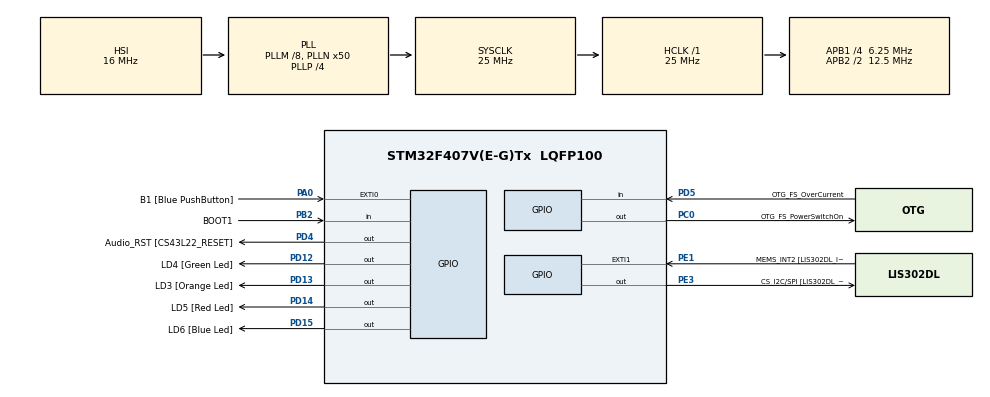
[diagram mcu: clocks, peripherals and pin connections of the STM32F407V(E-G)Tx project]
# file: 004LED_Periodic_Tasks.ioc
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Mcu.Family=STM32F4
Mcu.Name=STM32F407V(E-G)Tx
Mcu.Package=LQFP100
NVIC.PriorityGroup=NVIC_PRIORITYGROUP_0
NVIC.TIM6_DAC_IRQn=true\:0\:0\:false\:false\:true\:false\:true\:true
NVIC.TimeBase=TIM6_DAC_IRQn
NVIC.TimeBaseIP=TIM6
PA0-WKUP.GPIO_Label=B1 [Blue PushButton]
PA0-WKUP.Signal=GPXTI0
PA10.GPIO_Label=OTG_FS_ID
PA10.GPIO_Mode=GPIO_MODE_AF_PP
PA10.GPIO_PuPd=GPIO_NOPULL
PA10.GPIO_Speed=GPIO_SPEED_FREQ_LOW
PA10.Signal=USB_OTG_FS_ID
PA11.GPIO_Label=OTG_FS_DM
PA11.GPIO_Mode=GPIO_MODE_AF_PP
PA11.GPIO_PuPd=GPIO_NOPULL
PA11.GPIO_Speed=GPIO_SPEED_FREQ_LOW
PA11.Signal=USB_OTG_FS_DM
PA12.GPIO_Label=OTG_FS_DP
PA12.GPIO_Mode=GPIO_MODE_AF_PP
PA12.GPIO_PuPd=GPIO_NOPULL
PA12.GPIO_Speed=GPIO_SPEED_FREQ_LOW
PA12.Signal=USB_OTG_FS_DP
PA13.GPIO_Label=SWDIO
PA13.Signal=SYS_JTMS-SWDIO
PA14.GPIO_Label=SWCLK
PA14.Signal=SYS_JTCK-SWCLK
PA4.GPIO_Label=I2S3_WS [CS43L22_LRCK]
PA4.GPIO_Mode=GPIO_MODE_AF_PP
PA4.GPIO_PuPd=GPIO_NOPULL
PA4.GPIO_Speed=GPIO_SPEED_FREQ_LOW
PA4.Signal=I2S3_WS
PA5.GPIO_Label=SPI1_SCK [LIS302DL_SCL/SPC]
PA5.GPIO_Mode=GPIO_MODE_AF_PP
PA5.GPIO_PuPd=GPIO_NOPULL
PA5.GPIO_Speed=GPIO_SPEED_FREQ_LOW
PA5.Signal=SPI1_SCK
PA6.GPIO_Label=SPI1_MISO [LIS302DL_SDO]
PA6.GPIO_Mode=GPIO_MODE_AF_PP
PA6.GPIO_PuPd=GPIO_NOPULL
PA6.GPIO_Speed=GPIO_SPEED_FREQ_LOW
PA6.Signal=SPI1_MISO
PA7.GPIO_Label=SPI1_MOSI [LIS302DL_SDA/SDI/SDO]
PA7.GPIO_Mode=GPIO_MODE_AF_PP
PA7.GPIO_PuPd=GPIO_NOPULL
PA7.GPIO_Speed=GPIO_SPEED_FREQ_LOW
PA7.Signal=SPI1_MOSI
PA9.GPIO_Label=VBUS_FS
PA9.GPIO_Mode=GPIO_MODE_INPUT
PA9.GPIO_PuPd=GPIO_NOPULL
PA9.Signal=USB_OTG_FS_VBUS
PB10.GPIO_Label=CLK_IN [MP45DT02_CLK]
PB10.GPIO_Mode=GPIO_MODE_AF_PP
PB10.GPIO_PuPd=GPIO_NOPULL
PB10.GPIO_Speed=GPIO_SPEED_FREQ_LOW
PB10.Signal=I2S2_CK
PB2.GPIO_Label=BOOT1
PB2.GPIO_Mode=GPIO_MODE_INPUT
PB2.GPIO_PuPd=GPIO_NOPULL
PB2.Signal=GPIO_Input
PB3.GPIO_Label=SWO
PB3.Signal=SYS_JTDO-SWO
PB6.GPIO_Label=Audio_SCL [CS43L22_SCL]
PB6.GPIO_Mode=GPIO_MODE_AF_OD
PB6.GPIO_PuPd=GPIO_NOPULL
PB6.GPIO_Speed=GPIO_SPEED_FREQ_LOW
PB6.Signal=I2C1_SCL
PB9.GPIO_Label=Audio_SDA [CS43L22_SDA]
PB9.GPIO_Mode=GPIO_MODE_AF_OD
PB9.GPIO_PuPd=GPIO_NOPULL
PB9.GPIO_Speed=GPIO_SPEED_FREQ_LOW
PB9.Signal=I2C1_SDA
PC0.GPIO_Label=OTG_FS_PowerSwitchOn
PC0.GPIO_PuPd=GPIO_NOPULL
PC0.GPIO_Speed=GPIO_SPEED_FREQ_LOW
PC0.PinState=GPIO_PIN_SET
PC0.Signal=GPIO_Output
PC10.GPIO_Label=I2S3_SCK [CS43L22_SCLK]
PC10.GPIO_Mode=GPIO_MODE_AF_PP
PC10.GPIO_PuPd=GPIO_NOPULL
PC10.GPIO_Speed=GPIO_SPEED_FREQ_LOW
PC10.Signal=I2S3_CK
PC12.GPIO_Label=I2S3_SD [CS43L22_SDIN]
PC12.GPIO_Mode=GPIO_MODE_AF_PP
PC12.GPIO_PuPd=GPIO_NOPULL
PC12.GPIO_Speed=GPIO_SPEED_FREQ_LOW
PC12.Signal=I2S3_SD
PC14-OSC32_IN.GPIO_Label=PC14-OSC32_IN
PC14-OSC32_IN.Signal=RCC_OSC32_IN
PC15-OSC32_OUT.GPIO_Label=PC15-OSC32_OUT
PC15-OSC32_OUT.Signal=RCC_OSC32_OUT
PC3.GPIO_Label=PDM_OUT [MP45DT02_DOUT]
PC3.GPIO_Mode=GPIO_MODE_AF_PP
PC3.GPIO_PuPd=GPIO_NOPULL
PC3.GPIO_Speed=GPIO_SPEED_FREQ_LOW
PC3.Signal=I2S2_SD
PC7.GPIO_Label=I2S3_MCK [CS43L22_MCLK]
PC7.GPIO_Mode=GPIO_MODE_AF_PP
PC7.GPIO_PuPd=GPIO_NOPULL
PC7.GPIO_Speed=GPIO_SPEED_FREQ_LOW
PC7.Signal=I2S3_MCK
PD12.GPIO_Label=LD4 [Green Led]
PD12.GPIO_PuPd=GPIO_NOPULL
PD12.GPIO_Speed=GPIO_SPEED_FREQ_LOW
PD12.Signal=GPIO_Output
PD13.GPIO_Label=LD3 [Orange Led]
PD13.GPIO_PuPd=GPIO_NOPULL
PD13.GPIO_Speed=GPIO_SPEED_FREQ_LOW
PD13.Signal=GPIO_Output
PD14.GPIO_Label=LD5 [Red Led]
PD14.GPIO_PuPd=GPIO_NOPULL
PD14.GPIO_Speed=GPIO_SPEED_FREQ_LOW
PD14.Signal=GPIO_Output
PD15.GPIO_Label=LD6 [Blue Led]
PD15.GPIO_PuPd=GPIO_NOPULL
PD15.GPIO_Speed=GPIO_SPEED_FREQ_LOW
PD15.Signal=GPIO_Output
PD4.GPIO_Label=Audio_RST [CS43L22_RESET]
PD4.GPIO_PuPd=GPIO_NOPULL
PD4.GPIO_Speed=GPIO_SPEED_FREQ_LOW
PD4.Signal=GPIO_Output
PD5.GPIO_Label=OTG_FS_OverCurrent
PD5.GPIO_Mode=GPIO_MODE_INPUT
PD5.GPIO_PuPd=GPIO_NOPULL
PD5.Signal=GPIO_Input
PE1.GPIO_Label=MEMS_INT2 [LIS302DL_INT2]
PE1.GPIO_ModeDefaultEXTI=GPIO_MODE_EVT_RISING
PE1.GPIO_PuPd=GPIO_NOPULL
PE1.Signal=GPXTI1
PE3.GPIO_Label=CS_I2C/SPI [LIS302DL_CS_I2C/SPI]
PE3.GPIO_PuPd=GPIO_NOPULL
PE3.GPIO_Speed=GPIO_SPEED_FREQ_LOW
PE3.Signal=GPIO_Output
PH0-OSC_IN.GPIO_Label=PH0-OSC_IN
PH0-OSC_IN.Signal=RCC_OSC_IN
PH1-OSC_OUT.GPIO_Label=PH1-OSC_OUT
PH1-OSC_OUT.Signal=RCC_OSC_OUT
ProjectManager.HeapSize=0x200
ProjectManager.StackSize=0x400
ProjectManager.TargetToolchain=STM32CubeIDE
RCC.48MHZClocksFreq_Value=14285714.285714285
RCC.AHBFreq_Value=25000000
RCC.APB1CLKDivider=RCC_HCLK_DIV4
RCC.APB1Freq_Value=6250000
RCC.APB1TimFreq_Value=12500000
RCC.APB2CLKDivider=RCC_HCLK_DIV2
RCC.APB2Freq_Value=12500000
RCC.APB2TimFreq_Value=25000000
RCC.CortexFreq_Value=25000000
RCC.HCLKFreq_Value=25000000
RCC.HSE_VALUE=8000000
RCC.HSI_VALUE=16000000
RCC.LSE_VALUE=32768
RCC.PLLM=8
RCC.PLLN=50
RCC.PLLP=RCC_PLLP_DIV4
RCC.PLLQ=7
RCC.SYSCLKFreq_VALUE=25000000
RCC.SYSCLKSource=RCC_SYSCLKSOURCE_PLLCLK
RCC.VCOOutputFreq_Value=100000000
VP_SYS_VS_tim6.Mode=TIM6
board=STM32F407G-DISC1

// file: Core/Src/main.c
/* USER CODE BEGIN Header */
/**
  ******************************************************************************
  * @file           : main.c
  * @brief          : Main program body
  ******************************************************************************
  * @attention
  *
  * Copyright (c) 2025 STMicroelectronics.
  * All rights reserved.
  *
  * This software is licensed under terms that can be found in the LICENSE file
  * in the root directory of this software component.
  * If no LICENSE file comes with this software, it is provided AS-IS.
  *
  ******************************************************************************
  */
/* USER CODE END Header */
#include "main.h"

/* USER CODE BEGIN Includes */
#include <stdio.h>
#include <stdint.h>
#include "FreeRTOS.h"
#include "task.h"

/* USER CODE END Includes */

/* USER CODE BEGIN PD */
#define DWT_CTRL (*(volatile uint32_t*)0xE0001000)

/* USER CODE END PD */

void SystemClock_Config(void);
static void MX_GPIO_Init(void);
/* USER CODE BEGIN PFP */

static void green_led_handler(void* parameters);
static void red_led_handler(void* parameters);
static void orange_led_handler(void* parameters);

/* USER CODE END PFP */

int main(void)
{

  /* USER CODE BEGIN 1 */
	TaskHandle_t green_led_task_handle;
	TaskHandle_t red_led_task_handle;
	TaskHandle_t orange_led_task_handle;

	BaseType_t status;

  /* USER CODE END 1 */

  /* MCU Configuration--------------------------------------------------------*/

  /* Reset of all peripherals, Initializes the Flash interface and the Systick. */
  HAL_Init();

  /* Configure the system clock */
  SystemClock_Config();

  /* Initialize all configured peripherals */
  MX_GPIO_Init();
  /* USER CODE BEGIN 2 */

  // Enable the CYCCNT (cycle counter)
  DWT_CTRL |= (1 << 0);

  // Start SEGGER recording of FreeRTOS app
  SEGGER_SYSVIEW_Conf();
  SEGGER_SYSVIEW_Start();

  // Tasks

  status = xTaskCreate(green_led_handler, "Green_Led_Task", 200, NULL, 2, &green_led_task_handle);

  configASSERT(status == pdPASS);

  status = xTaskCreate(red_led_handler, "Red_Led_Task", 200, NULL, 2, &red_led_task_handle);

  configASSERT(status == pdPASS);

  status = xTaskCreate(orange_led_handler, "Orange_Led_Task", 200, NULL, 2, &orange_led_task_handle);

  configASSERT(status == pdPASS);

  // Prevent Hard Fault (Usage fault/ Mem)
  // From: https://www.freertos.org/Documentation/02-Kernel/03-Supported-devices/04-Demos/ARM-Cortex/RTOS-Cortex-M3-M4
  // If you are using an STM32 with the STM32 driver library then ensure all the priority bits are assigned
  // to be preempt priority bits by calling NVIC_PriorityGroupConfig( NVIC_PriorityGroup_4 ); before the RTOS is started.

  // Recommended to set all priority bits to preempt bits (no sub-priority bits) to prevent complications
  // w/ the configMAX_SYSCALL_INTERRUPT_PRIORITY setting and the priority assigned to individual peripheral interrupts.
  HAL_NVIC_SetPriorityGrouping( NVIC_PRIORITYGROUP_4 );

  //start FreeRTOS scheduler
  vTaskStartScheduler();

  // if control comes here, scheduler launch failed due to insufficient heap memory

  /* USER CODE END 2 */

  /* Infinite loop */
  while (1)
  {

  }
}

void SystemClock_Config(void)
{
  RCC_OscInitTypeDef RCC_OscInitStruct = {0};
  RCC_ClkInitTypeDef RCC_ClkInitStruct = {0};

  /** Configure the main internal regulator output voltage
  */
  __HAL_RCC_PWR_CLK_ENABLE();
  __HAL_PWR_VOLTAGESCALING_CONFIG(PWR_REGULATOR_VOLTAGE_SCALE1);

  /** Initializes the RCC Oscillators according to the specified parameters
  * in the RCC_OscInitTypeDef structure.
  */
  RCC_OscInitStruct.OscillatorType = RCC_OSCILLATORTYPE_HSI;
  RCC_OscInitStruct.HSIState = RCC_HSI_ON;
  RCC_OscInitStruct.HSICalibrationValue = RCC_HSICALIBRATION_DEFAULT;
  RCC_OscInitStruct.PLL.PLLState = RCC_PLL_ON;
  RCC_OscInitStruct.PLL.PLLSource = RCC_PLLSOURCE_HSI;
  RCC_OscInitStruct.PLL.PLLM = 8;
  RCC_OscInitStruct.PLL.PLLN = 50;
  RCC_OscInitStruct.PLL.PLLP = RCC_PLLP_DIV4;
  RCC_OscInitStruct.PLL.PLLQ = 7;
  if (HAL_RCC_OscConfig(&RCC_OscInitStruct) != HAL_OK)
  {
    Error_Handler();
  }

  /** Initializes the CPU, AHB and APB buses clocks
  */
  RCC_ClkInitStruct.ClockType = RCC_CLOCKTYPE_HCLK|RCC_CLOCKTYPE_SYSCLK
                              |RCC_CLOCKTYPE_PCLK1|RCC_CLOCKTYPE_PCLK2;
  RCC_ClkInitStruct.SYSCLKSource = RCC_SYSCLKSOURCE_PLLCLK;
  RCC_ClkInitStruct.AHBCLKDivider = RCC_SYSCLK_DIV1;
  RCC_ClkInitStruct.APB1CLKDivider = RCC_HCLK_DIV4;
  RCC_ClkInitStruct.APB2CLKDivider = RCC_HCLK_DIV2;

  if (HAL_RCC_ClockConfig(&RCC_ClkInitStruct, FLASH_LATENCY_0) != HAL_OK)
  {
    Error_Handler();
  }
}

static void MX_GPIO_Init(void)
{
  GPIO_InitTypeDef GPIO_InitStruct = {0};

  /* GPIO Ports Clock Enable */
  __HAL_RCC_GPIOE_CLK_ENABLE();
  __HAL_RCC_GPIOC_CLK_ENABLE();
  __HAL_RCC_GPIOH_CLK_ENABLE();
  __HAL_RCC_GPIOA_CLK_ENABLE();
  __HAL_RCC_GPIOB_CLK_ENABLE();
  __HAL_RCC_GPIOD_CLK_ENABLE();

  /*Configure GPIO pin Output Level */
  HAL_GPIO_WritePin(CS_I2C_SPI_GPIO_Port, CS_I2C_SPI_Pin, GPIO_PIN_RESET);

  /*Configure GPIO pin Output Level */
  HAL_GPIO_WritePin(OTG_FS_PowerSwitchOn_GPIO_Port, OTG_FS_PowerSwitchOn_Pin, GPIO_PIN_SET);

  /*Configure GPIO pin Output Level */
  HAL_GPIO_WritePin(GPIOD, LD4_Pin|LD3_Pin|LD5_Pin|LD6_Pin
                          |Audio_RST_Pin, GPIO_PIN_RESET);

  /*Configure GPIO pin : CS_I2C_SPI_Pin */
  GPIO_InitStruct.Pin = CS_I2C_SPI_Pin;
  GPIO_InitStruct.Mode = GPIO_MODE_OUTPUT_PP;
  GPIO_InitStruct.Pull = GPIO_NOPULL;
  GPIO_InitStruct.Speed = GPIO_SPEED_FREQ_LOW;
  HAL_GPIO_Init(CS_I2C_SPI_GPIO_Port, &GPIO_InitStruct);

  /*Configure GPIO pin : OTG_FS_PowerSwitchOn_Pin */
  GPIO_InitStruct.Pin = OTG_FS_PowerSwitchOn_Pin;
  GPIO_InitStruct.Mode = GPIO_MODE_OUTPUT_PP;
  GPIO_InitStruct.Pull = GPIO_NOPULL;
  GPIO_InitStruct.Speed = GPIO_SPEED_FREQ_LOW;
  HAL_GPIO_Init(OTG_FS_PowerSwitchOn_GPIO_Port, &GPIO_InitStruct);

  /*Configure GPIO pin : PDM_OUT_Pin */
  GPIO_InitStruct.Pin = PDM_OUT_Pin;
  GPIO_InitStruct.Mode = GPIO_MODE_AF_PP;
  GPIO_InitStruct.Pull = GPIO_NOPULL;
  GPIO_InitStruct.Speed = GPIO_SPEED_FREQ_LOW;
  GPIO_InitStruct.Alternate = GPIO_AF5_SPI2;
  HAL_GPIO_Init(PDM_OUT_GPIO_Port, &GPIO_InitStruct);

  /*Configure GPIO pin : B1_Pin */
  GPIO_InitStruct.Pin = B1_Pin;
  GPIO_InitStruct.Mode = GPIO_MODE_IT_RISING;
  GPIO_InitStruct.Pull = GPIO_NOPULL;
  HAL_GPIO_Init(B1_GPIO_Port, &GPIO_InitStruct);

  /*Configure GPIO pin : I2S3_WS_Pin */
  GPIO_InitStruct.Pin = I2S3_WS_Pin;
  GPIO_InitStruct.Mode = GPIO_MODE_AF_PP;
  GPIO_InitStruct.Pull = GPIO_NOPULL;
  GPIO_InitStruct.Speed = GPIO_SPEED_FREQ_LOW;
  GPIO_InitStruct.Alternate = GPIO_AF6_SPI3;
  HAL_GPIO_Init(I2S3_WS_GPIO_Port, &GPIO_InitStruct);

  /*Configure GPIO pins : SPI1_SCK_Pin SPI1_MISO_Pin SPI1_MOSI_Pin */
  GPIO_InitStruct.Pin = SPI1_SCK_Pin|SPI1_MISO_Pin|SPI1_MOSI_Pin;
  GPIO_InitStruct.Mode = GPIO_MODE_AF_PP;
  GPIO_InitStruct.Pull = GPIO_NOPULL;
  GPIO_InitStruct.Speed = GPIO_SPEED_FREQ_LOW;
  GPIO_InitStruct.Alternate = GPIO_AF5_SPI1;
  HAL_GPIO_Init(GPIOA, &GPIO_InitStruct);

  /*Configure GPIO pin : BOOT1_Pin */
  GPIO_InitStruct.Pin = BOOT1_Pin;
  GPIO_InitStruct.Mode = GPIO_MODE_INPUT;
  GPIO_InitStruct.Pull = GPIO_NOPULL;
  HAL_GPIO_Init(BOOT1_GPIO_Port, &GPIO_InitStruct);

  /*Configure GPIO pin : CLK_IN_Pin */
  GPIO_InitStruct.Pin = CLK_IN_Pin;
  GPIO_InitStruct.Mode = GPIO_MODE_AF_PP;
  GPIO_InitStruct.Pull = GPIO_NOPULL;
  GPIO_InitStruct.Speed = GPIO_SPEED_FREQ_LOW;
  GPIO_InitStruct.Alternate = GPIO_AF5_SPI2;
  HAL_GPIO_Init(CLK_IN_GPIO_Port, &GPIO_InitStruct);

  /*Configure GPIO pins : LD4_Pin LD3_Pin LD5_Pin LD6_Pin
                           Audio_RST_Pin */
  GPIO_InitStruct.Pin = LD4_Pin|LD3_Pin|LD5_Pin|LD6_Pin
                          |Audio_RST_Pin;
  GPIO_InitStruct.Mode = GPIO_MODE_OUTPUT_PP;
  GPIO_InitStruct.Pull = GPIO_NOPULL;
  GPIO_InitStruct.Speed = GPIO_SPEED_FREQ_LOW;
  HAL_GPIO_Init(GPIOD, &GPIO_InitStruct);

  /*Configure GPIO pins : I2S3_MCK_Pin I2S3_SCK_Pin I2S3_SD_Pin */
  GPIO_InitStruct.Pin = I2S3_MCK_Pin|I2S3_SCK_Pin|I2S3_SD_Pin;
  GPIO_InitStruct.Mode = GPIO_MODE_AF_PP;
  GPIO_InitStruct.Pull = GPIO_NOPULL;
  GPIO_InitStruct.Speed = GPIO_SPEED_FREQ_LOW;
  GPIO_InitStruct.Alternate = GPIO_AF6_SPI3;
  HAL_GPIO_Init(GPIOC, &GPIO_InitStruct);

  /*Configure GPIO pin : VBUS_FS_Pin */
  GPIO_InitStruct.Pin = VBUS_FS_Pin;
  GPIO_InitStruct.Mode = GPIO_MODE_INPUT;
  GPIO_InitStruct.Pull = GPIO_NOPULL;
  HAL_GPIO_Init(VBUS_FS_GPIO_Port, &GPIO_InitStruct);

  /*Configure GPIO pins : OTG_FS_ID_Pin OTG_FS_DM_Pin OTG_FS_DP_Pin */
  GPIO_InitStruct.Pin = OTG_FS_ID_Pin|OTG_FS_DM_Pin|OTG_FS_DP_Pin;
  GPIO_InitStruct.Mode = GPIO_MODE_AF_PP;
  GPIO_InitStruct.Pull = GPIO_NOPULL;
  GPIO_InitStruct.Speed = GPIO_SPEED_FREQ_LOW;
  GPIO_InitStruct.Alternate = GPIO_AF10_OTG_FS;
  HAL_GPIO_Init(GPIOA, &GPIO_InitStruct);

  /*Configure GPIO pin : OTG_FS_OverCurrent_Pin */
  GPIO_InitStruct.Pin = OTG_FS_OverCurrent_Pin;
  GPIO_InitStruct.Mode = GPIO_MODE_INPUT;
  GPIO_InitStruct.Pull = GPIO_NOPULL;
  HAL_GPIO_Init(OTG_FS_OverCurrent_GPIO_Port, &GPIO_InitStruct);

  /*Configure GPIO pins : Audio_SCL_Pin Audio_SDA_Pin */
  GPIO_InitStruct.Pin = Audio_SCL_Pin|Audio_SDA_Pin;
  GPIO_InitStruct.Mode = GPIO_MODE_AF_OD;
  GPIO_InitStruct.Pull = GPIO_NOPULL;
  GPIO_InitStruct.Speed = GPIO_SPEED_FREQ_LOW;
  GPIO_InitStruct.Alternate = GPIO_AF4_I2C1;
  HAL_GPIO_Init(GPIOB, &GPIO_InitStruct);

  /*Configure GPIO pin : MEMS_INT2_Pin */
  GPIO_InitStruct.Pin = MEMS_INT2_Pin;
  GPIO_InitStruct.Mode = GPIO_MODE_EVT_RISING;
  GPIO_InitStruct.Pull = GPIO_NOPULL;
  HAL_GPIO_Init(MEMS_INT2_GPIO_Port, &GPIO_InitStruct);

}

/* USER CODE BEGIN 4 */
static void green_led_handler(void* parameters)
{
	TickType_t last_wakeup_time = xTaskGetTickCount();

	char msg[100];

	while(1)
	{
		HAL_GPIO_TogglePin(GPIOD, LED_GREEN_PIN);

		printf("%s\n", (char*)parameters);

		snprintf(msg,100,"%s\n", (char*)parameters);

		SEGGER_SYSVIEW_PrintfTarget(msg);

		vTaskDelayUntil(&last_wakeup_time,pdMS_TO_TICKS(1000));

	}
}

static void red_led_handler(void* parameters)
{
	TickType_t last_wakeup_time = xTaskGetTickCount();

	char msg[100];

	while(1)
	{
		HAL_GPIO_TogglePin(GPIOD, LED_RED_PIN);

		printf("%s\n", (char*)parameters);

		snprintf(msg,100,"%s\n", (char*)parameters);

		SEGGER_SYSVIEW_PrintfTarget(msg);

		vTaskDelayUntil(&last_wakeup_time,pdMS_TO_TICKS(800));
	}
}

static void orange_led_handler(void* parameters)
{
	TickType_t last_wakeup_time = xTaskGetTickCount();

	char msg[100];

	while(1)
	{
		HAL_GPIO_TogglePin(GPIOD, LED_ORANGE_PIN);

		printf("%s\n", (char*)parameters);

		snprintf(msg,100,"%s\n", (char*)parameters);

		SEGGER_SYSVIEW_PrintfTarget(msg);

		vTaskDelayUntil(&last_wakeup_time,pdMS_TO_TICKS(400));
	}
}

/* USER CODE END 4 */

void HAL_TIM_PeriodElapsedCallback(TIM_HandleTypeDef *htim)
{
  if (htim->Instance == TIM6)
  {
    HAL_IncTick();
  }
}

void Error_Handler(void)
{
  __disable_irq();
  while (1)
  {
  }
}
